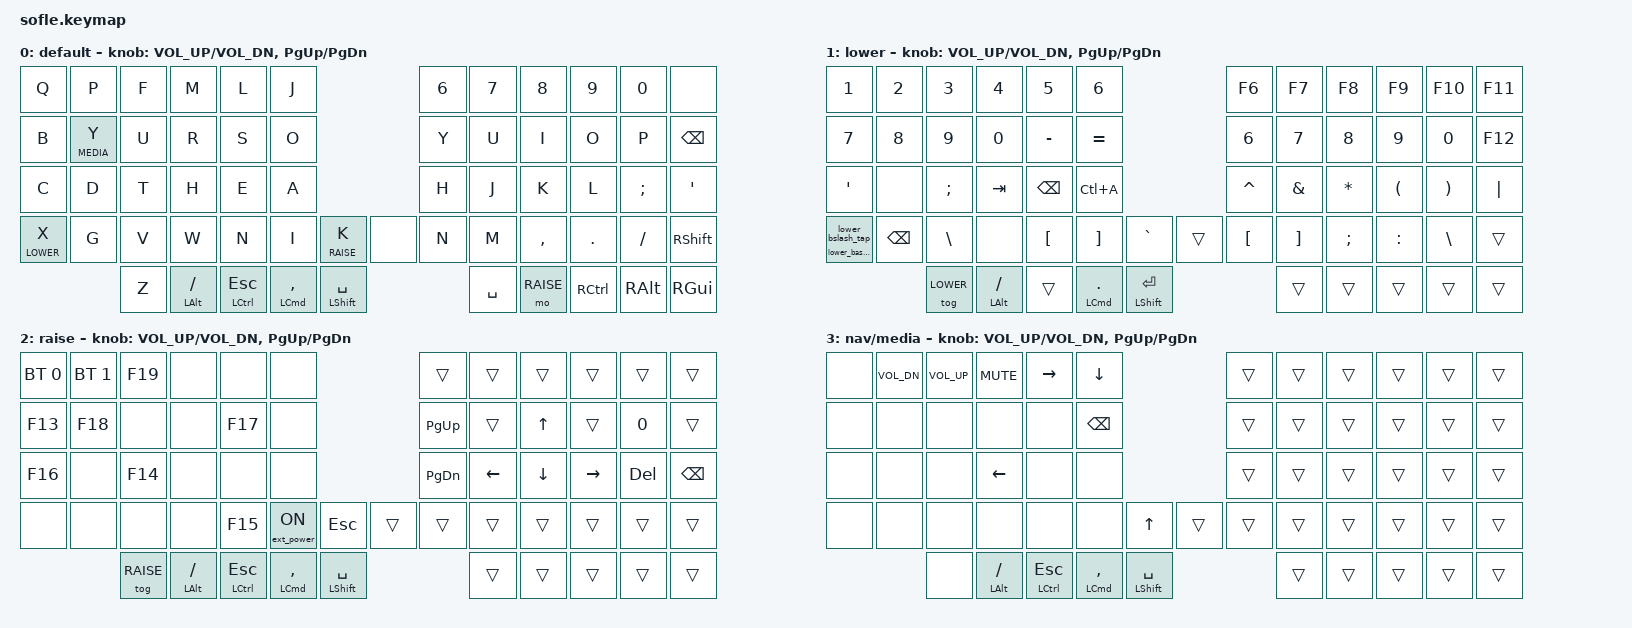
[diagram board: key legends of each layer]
/*
 * Copyright (c) 2020 The ZMK Contributors
 *
 * SPDX-License-Identifier: MIT
 */

#include <behaviors.dtsi>
#include <dt-bindings/zmk/bt.h>
#include <dt-bindings/zmk/ext_power.h>
#include <dt-bindings/zmk/keys.h>

#define BASE 0
#define LOWER 1
#define RAISE 2
#define MEDIA 3

// hold-preferred is &mt's own default, restored here deliberately after a
// detour through balanced. balanced only decides on the OTHER key's release,
// and a hold-tap captures every later keypress while undecided. Holding Ctrl
// and Space together therefore never produced an "other key up", so Ctrl sat
// undecided until its own 200 ms timer with the Space press still queued
// behind it. hold-preferred decides the instant Space goes down.
//
// Keep every &mt directly in the keymap. A tap dance that wraps &mt creates
// the hold-tap only after the dance resolves, after the interrupting key has
// already passed the hold-tap listener. That delayed modifiers and could drop
// a second hold-tap entirely.
&mt {
    flavor = "hold-preferred";
    tapping-term-ms = <200>;
};

// hold-preferred so the layer engages the moment a second key goes down.
// The default, tap-preferred, only resolves on timeout, which meant every
// Lower/Raise access cost a full 200 ms dwell before the layer was live.
&lt {
    flavor = "hold-preferred";
    tapping-term-ms = <200>;
};

/ {
    macros {
        lower_base_peek: lower_base_peek {
            compatible = "zmk,behavior-macro";
            #binding-cells = <0>;
            wait-ms = <0>;
            tap-ms = <0>;
            bindings
                = <&macro_tap &tog LOWER>
                , <&macro_pause_for_release>
                , <&macro_tap &tog LOWER>
                ;
        };

        lower_bslash_tap: lower_bslash_tap {
            compatible = "zmk,behavior-macro";
            #binding-cells = <0>;
            bindings = <&kp BSLH>;
        };

    };

    combos {
        compatible = "zmk,combos";

        // Combos match key POSITIONS, not letters, so an unscoped combo also
        // fires on other layers. Everything benign is pinned to BASE: <0 1>
        // is 1+2 on Lower and BT0+BT1 on Raise; <12 13> is 7+8 on Lower.
        // L+J has no combo; Backspace is Lower+E/G or Navigation/Media+O.
        grave {
            bindings = <&kp GRAVE>;
            key-positions = <0 1>;
            layers = <BASE>;
        };

        tab {
            bindings = <&kp TAB>;
            key-positions = <12 13>;
            layers = <BASE>;
        };

        raise_once {
            bindings = <&sl RAISE>;
            key-positions = <38 39>;
            layers = <BASE>;
        };

        // Both destructive combos used to sit on the editing keys: <0 5> was
        // Left-arrow + Backspace, and <4 5> was the same L+J chord trained as
        // Backspace elsewhere, one slip from dropping into UF2 with no HID.
        // Moved onto the bottom row, where they are deliberate finger presses
        // and never occur while navigating or deleting.
        clear_bluetooth {          // V + W on Raise; NOT the BT selector keys
            bindings = <&bt BT_CLR>;
            key-positions = <38 39>;
            layers = <RAISE>;
            timeout-ms = <50>;
        };

        bootloader_combo {         // X + G on Raise, bottom row
            bindings = <&bootloader>;
            key-positions = <36 37>;
            layers = <RAISE>;
            timeout-ms = <150>;
        };
    };

    behaviors {
        // xlayers/klayers are gone. Wrapping &lt in a tap-dance meant the dance
        // had to resolve first, and tap-dance resolves EAGERLY on any other key
        // press without buffering it. So pressing a second key inside 175 ms
        // leaked the base letter through before the layer was live, and waiting
        // it out cost 175 ms + the hold-tap's own 200 ms. X and K are now plain
        // &lt; locking moved to Z, which is a standalone press and cannot be
        // torn down by the &lt release.

        // The user operates Y with the pinky, leaving the index finger free
        // for O/Backspace and H/J/K/L available for navigation. Reuse Media
        // rather than adding a fifth layer. Tap-preferred still requires the
        // full 200 ms hold, protecting quick Y rolls from navigation/media.
        ymedia: ymedia {
            compatible = "zmk,behavior-hold-tap";
            #binding-cells = <2>;
            flavor = "tap-preferred";
            tapping-term-ms = <200>;
            bindings = <&mo>, <&kp>;
        };

        lower_bslash_base: lower_bslash_base {
            compatible = "zmk,behavior-hold-tap";
            label = "LOWER_BSLASH_BASE";
            #binding-cells = <2>;
            flavor = "hold-preferred";
            tapping-term-ms = <200>;
            bindings = <&lower_base_peek>, <&lower_bslash_tap>;
        };
    };

    keymap {
        compatible = "zmk,keymap";

        default_layer {
            display-name = "default";

            // Left half: all letters plus thumb tap/hold behaviors. The right half is disconnected.
            // | Q | P | F | M | L | J |
            // | B | Y: tap Y / hold NAVIGATION+MEDIA | U | R | S | O |
            // | C | D | T | H | E | A |
            // | X: tap X / hold LOWER | G | V | W | N | I | K: tap K / hold RAISE |
            //     | Z | SLASH/ALT | ESC/CTRL | COMMA/CMD | SPACE/SHIFT |
            // To lock a layer: hold X (or K), then tap Z. To leave it: tap Z.

            bindings = <
&kp Q  &kp P  &kp F     &kp M             &kp L            &kp J                                       &kp N6     &kp N7     &kp N8     &kp N9    &kp N0    &none
&kp B  &ymedia MEDIA Y  &kp U     &kp R                 &kp S            &kp O                                       &kp Y      &kp U      &kp I      &kp O     &kp P     &kp BSPC
&kp C  &kp D  &kp T     &kp H                 &kp E            &kp A                                       &kp H      &kp J      &kp K      &kp L     &kp SEMI  &kp SQT
&lt LOWER X  &kp G  &kp V     &kp W                 &kp N            &kp I          &lt RAISE K          &none      &kp N      &kp M      &kp COMMA  &kp DOT   &kp FSLH  &kp RSHFT
              &kp Z     &mt LEFT_ALT SLASH  &mt LEFT_CONTROL ESC  &mt LEFT_COMMAND COMMA  &mt LEFT_SHIFT SPACE    &kp SPACE  &mo RAISE  &kp RCTRL  &kp RALT   &kp RGUI
            >;

            sensor-bindings = <&inc_dec_kp C_VOL_UP C_VOL_DN &inc_dec_kp PG_UP PG_DN>;
        };

        lower_layer {
            display-name = "lower";

            // Left half:
            // | 1 | 2 | 3 | 4 | 5 | 6 |
            // | 7 | 8 | 9 | 0 | - | = |
            // | ' | UNUSED | ; | TAB | BACKSPACE | CTRL+A |
            // Hold X to use temporarily, or hold X then tap Z to lock. Tap Z to leave.
            // Hold X then tap E or G for Backspace; Y+O is still available.
            // This is a Lower binding, not a combo. Raise X+G stays bootloader.
            // Shift+Tab uses the Shift thumb plus H/Tab.
            // | BACKSLASH: tap \\ / hold BASE | BACKSPACE | BACKSLASH | UNUSED | [ | ] | ` |
            // V makes backslash/pipe reachable while X is held. Slash is on
            // the Option thumb; period is on the Command thumb.
            // N/I keep [ and ] side by side; Shift gives { and }.
            // E is Backspace. Comma stays on Base's Command thumb.
            // A sends Ctrl+A only: in Ghostty, keep X held and tap Q/P/F for
            // leader 1/2/3, or release X before tapping a Base H/J/K/L command.
            //     | Z: lock / unlock | SLASH/ALT | ESC/CTRL | PERIOD/CMD | ENTER/SHIFT |

            bindings = <
&kp NUMBER_1  &kp NUMBER_2   &kp NUMBER_3  &kp NUMBER_4   &kp N5            &kp NUMBER_6                                 &kp F6     &kp F7    &kp F8     &kp F9     &kp F10   &kp F11
&kp N7        &kp N8         &kp N9        &kp N0         &kp MINUS         &kp EQUAL                                    &kp N6     &kp N7    &kp N8     &kp N9     &kp N0    &kp F12
&kp SQT       &none          &kp SEMI      &kp TAB  &kp BACKSPACE     &kp LC(A)                                    &kp CARET  &kp AMPS  &kp ASTRK  &kp LPAR   &kp RPAR  &kp PIPE
&lower_bslash_base 0 0  &kp BACKSPACE  &kp BSLH  &none        &kp LEFT_BRACKET  &kp RIGHT_BRACKET  &kp GRAVE    &trans  &kp LBKT   &kp RBKT  &kp SEMI   &kp COLON  &kp BSLH  &trans
                             &tog LOWER    &mt LEFT_ALT SLASH  &trans       &mt LEFT_COMMAND DOT  &mt LEFT_SHIFT ENTER  &trans  &trans     &trans    &trans     &trans
            >;

            sensor-bindings = <&inc_dec_kp C_VOL_UP C_VOL_DN &inc_dec_kp PG_UP PG_DN>;
        };

        raise_layer {
            display-name = "raise";

            // Hold K to use temporarily, or hold K then tap Z to lock. Tap Z to leave.
            // K itself taps ESC here. Z is the single reliable layer exit.
            // V+W on Base activates Raise for one keypress, normally to launch an app.
            // Q/P (Lower's 1/2 positions) select existing BT profiles 0/1.
            // Recovery combos stay on the bottom row: V+W clears the selected
            // Bluetooth profile; X+G enters the bootloader. Do not move clear
            // onto the BT selectors. Navigation and Backspace now live on Y.
            // | BT0      | BT1    | FINDER   | UNUSED | UNUSED   | UNUSED |
            // Y emits F18 for browser transcript; Shift+Y requests the full brief.
            // | BROWSER  | BRIEF  | UNUSED   | UNUSED | SETTINGS | UNUSED |
            // | CHAT     | UNUSED | TERMINAL | UNUSED | UNUSED   | UNUSED |
            // | UNUSED   | UNUSED | UNUSED   | UNUSED | NOTES    | DISPLAY ON | ESC |
            //     | Z: lock / unlock | SLASH/ALT | ESC/CTRL | COMMA/CMD | SPACE/SHIFT |

            bindings = <
&bt BT_SEL 0  &bt BT_SEL 1       &kp F19        &none              &none              &none                                        &trans     &trans    &trans    &trans     &trans   &trans
&kp F13       &kp F18            &none          &none              &kp F17            &none                                        &kp PG_UP  &trans    &kp UP    &trans     &kp N0   &trans
&kp F16       &none              &kp F14        &none              &none              &none                                        &kp PG_DN  &kp LEFT  &kp DOWN  &kp RIGHT  &kp DEL  &kp BSPC
&none         &none              &none          &none              &kp F15            &ext_power EP_ON   &kp ESC           &trans  &trans     &trans    &trans    &trans     &trans   &trans
                                 &tog RAISE    &mt LEFT_ALT SLASH  &mt LEFT_CONTROL ESC  &mt LEFT_COMMAND COMMA  &mt LEFT_SHIFT SPACE    &trans  &trans     &trans    &trans    &trans
            >;

            sensor-bindings = <&inc_dec_kp C_VOL_UP C_VOL_DN &inc_dec_kp PG_UP PG_DN>;
        };

        media_layer {
            display-name = "nav/media";

            // Hold Y for 200 ms: H/J/K/L are Left/Down/Up/Right; O is Backspace.
            // P/F/M are Volume Down/Volume Up/Mute. No forward Delete.
            // The deliberate dwell protects quick Y rolls from commands.
            //
            // Reached only while Y is physically held. There is no &tog here
            // and no exit key, so it is not a layer you can be stranded in.
            // | UNUSED | VOLUME DOWN | VOLUME UP | MUTE | RIGHT | DOWN |
            // | UNUSED | HELD Y | UNUSED | UNUSED | UNUSED | BACKSPACE |
            // | UNUSED | UNUSED | UNUSED | LEFT | UNUSED | UNUSED |
            // | UNUSED | UNUSED | UNUSED | UNUSED | UNUSED | UNUSED | UP |
            // The four modifier thumbs use the Base tap/hold behaviors. Z is
            // unused here: release Y to return to the underlying layer.

            bindings = <
&none  &kp C_VOL_DN  &kp C_VOL_UP  &kp C_MUTE  &kp RIGHT  &kp DOWN                              &trans  &trans  &trans  &trans  &trans  &trans
&none  &none         &none         &none       &none      &kp BACKSPACE                         &trans  &trans  &trans  &trans  &trans  &trans
&none  &none         &none         &kp LEFT    &none      &none                                 &trans  &trans  &trans  &trans  &trans  &trans
&none  &none         &none         &none       &none      &none         &kp UP                  &trans  &trans  &trans  &trans  &trans  &trans  &trans
              &none    &mt LEFT_ALT SLASH  &mt LEFT_CONTROL ESC  &mt LEFT_COMMAND COMMA  &mt LEFT_SHIFT SPACE  &trans  &trans  &trans  &trans  &trans
            >;

            sensor-bindings = <&inc_dec_kp C_VOL_UP C_VOL_DN &inc_dec_kp PG_UP PG_DN>;
        };
    };
};
